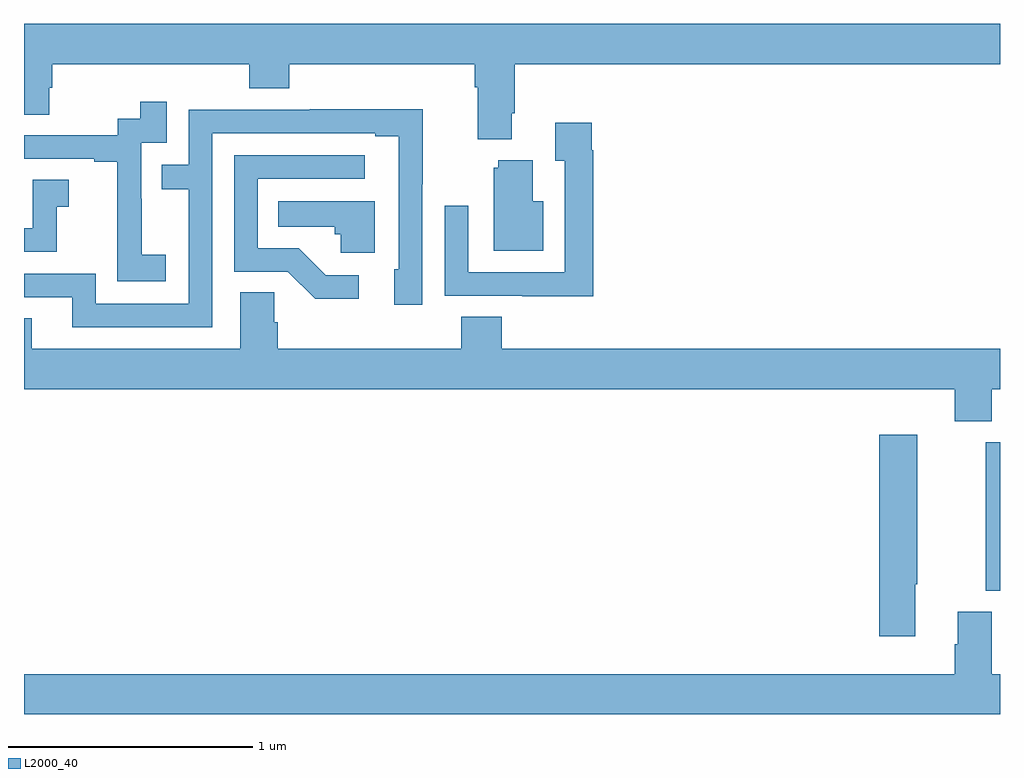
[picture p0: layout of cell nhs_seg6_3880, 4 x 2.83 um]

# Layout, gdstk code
import gdstk
lib = gdstk.Library(unit=1e-6, precision=1e-09)
def R(c, l, rs):  # rectangles x0, y0, x1, y1
    for r in rs: c.add(gdstk.rectangle(r[:2], r[2:], *l))
def P(c, l, *ps):  # polygons
    for p in ps: c.add(gdstk.Polygon(p, *l))
L2000_40 = (2000, 40)

nhs_seg6_3880 = lib.new_cell('nhs_seg6_3880')
R(nhs_seg6_3880, L2000_40, [(342.942,978.477,343,979.086)])
P(nhs_seg6_3880, L2000_40, [(340.999,980.434),(341.012,980.434),(341.012,980.636),(343,980.636),(343,980.8),(339,980.8),(339,980.428),(339.103,980.428),(339.103,980.538),(339.116,980.538),(339.116,980.636),(339.923,980.636),(339.923,980.537),(340.088,980.537),(340.088,980.636),(340.847,980.636),(340.847,980.54),(340.859,980.54),(340.859,980.327),(340.999,980.327)],
  [(339.58,979.855),(339.482,979.855),(339.482,980.084),(339.48,980.084),(339.48,980.313),(339.585,980.313),(339.585,980.482),(339.477,980.482),(339.477,980.412),(339.384,980.412),(339.384,980.343),(339,980.343),(339,980.247),(339.287,980.247),(339.287,980.235),(339.383,980.235),(339.383,979.951),(339.382,979.951),(339.382,979.745),(339.58,979.745)],
  [(339.771,980.352),(340.439,980.352),(340.439,980.34),(340.536,980.34),(340.536,979.794),(340.517,979.794),(340.517,979.65),(340.632,979.65),(340.632,980.143),(340.635,980.143),(340.635,980.45),(340.171,980.45),(340.171,980.448),(339.675,980.448),(339.675,980.223),(339.565,980.223),(339.565,980.122),(339.675,980.122),(339.675,979.653),(339.294,979.653),(339.294,979.776),(339,979.776),(339,979.68),(339.197,979.68),(339.197,979.557),(339.771,979.557)],
  [(341.333,980.282),(341.326,980.282),(341.326,980.395),(341.177,980.395),(341.177,980.239),(341.217,980.239),(341.217,979.782),(340.821,979.782),(340.821,980.056),(340.725,980.056),(340.725,979.686),(341.041,979.686),(341.041,979.685),(341.333,979.685)],
  [(340.372,979.77),(340.237,979.77),(340.126,979.881),(339.957,979.881),(339.957,980.166),(340.396,980.166),(340.396,980.262),(339.861,980.262),(339.861,979.785),(340.08,979.785),(340.193,979.673),(340.372,979.673)],
  [(341.128,980.074),(341.086,980.074),(341.086,980.242),(340.943,980.242),(340.943,980.211),(340.925,980.211),(340.925,979.871),(341.128,979.871)],
  [(339.135,980.051),(339.184,980.051),(339.184,980.161),(339.036,980.161),(339.036,979.962),(339,979.962),(339,979.866),(339.135,979.866)],
  [(340.438,980.074),(340.042,980.074),(340.042,979.97),(340.273,979.97),(340.273,979.938),(340.299,979.938),(340.299,979.862),(340.438,979.862)],
  [(342.967,979.304),(343,979.304),(343,979.468),(340.958,979.468),(340.958,979.601),(340.793,979.601),(340.793,979.468),(340.04,979.468),(340.04,979.577),(340.026,979.577),(340.026,979.7),(339.887,979.7),(339.887,979.468),(339.031,979.468),(339.031,979.595),(339,979.595),(339,979.304),(342.815,979.304),(342.815,979.171),(342.967,979.171)],
  [(342.652,978.503),(342.66,978.503),(342.66,979.117),(342.506,979.117),(342.506,978.291),(342.652,978.291)],
  [(343,978.136),(342.967,978.136),(342.967,978.392),(342.827,978.392),(342.827,978.258),(342.815,978.258),(342.815,978.136),(339,978.136),(339,977.972),(343,977.972)])

lib.write_gds('nhs_seg6_3880.gds')
